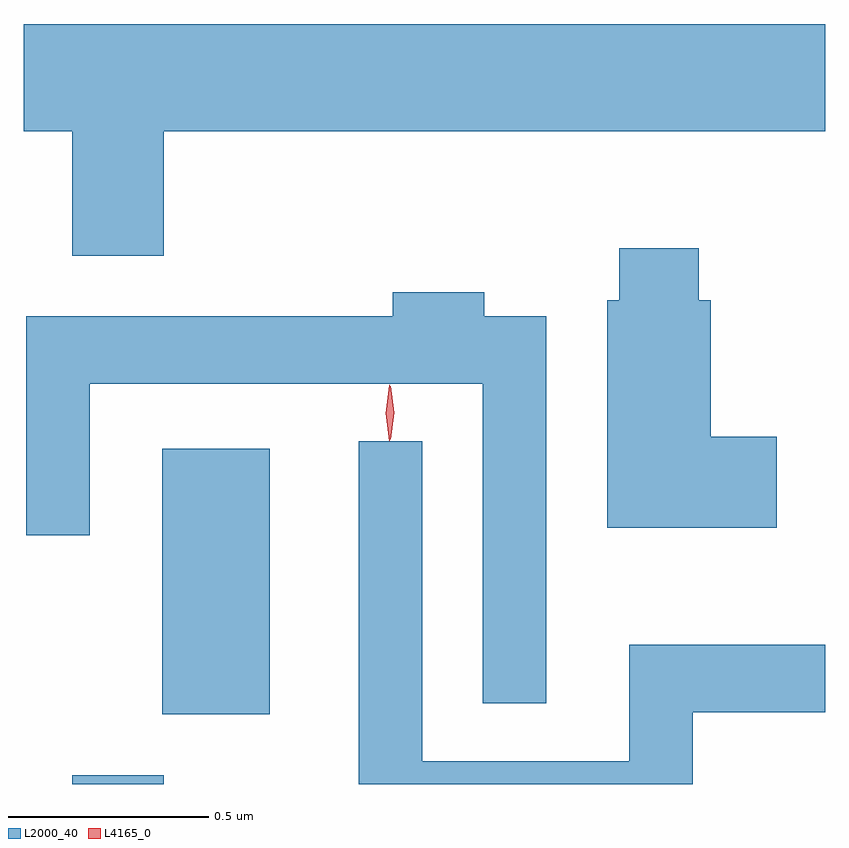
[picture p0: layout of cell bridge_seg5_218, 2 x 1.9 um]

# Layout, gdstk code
import gdstk
lib = gdstk.Library(unit=1e-6, precision=1e-09)
def R(c, l, rs):  # rectangles x0, y0, x1, y1
    for r in rs: c.add(gdstk.rectangle(r[:2], r[2:], *l))
def P(c, l, *ps):  # polygons
    for p in ps: c.add(gdstk.Polygon(p, *l))
L2000_40 = (2000, 40)
L4165_0 = (4165, 0)

bridge_seg5_218 = lib.new_cell('bridge_seg5_218')
R(bridge_seg5_218, L2000_40, [(1279.161,1417.427,1279.389,1417.449), (1279.386,1417.601,1279.654,1418.264)])
P(bridge_seg5_218, L2000_40, [(1279.389,1419.056),(1281.04,1419.056),(1281.04,1419.324),(1279.04,1419.324),(1279.04,1419.056),(1279.161,1419.056),(1279.161,1418.746),(1279.389,1418.746)],
  [(1280.919,1418.294),(1280.754,1418.294),(1280.754,1418.634),(1280.724,1418.634),(1280.724,1418.764),(1280.526,1418.764),(1280.526,1418.634),(1280.496,1418.634),(1280.496,1418.066),(1280.919,1418.066)],
  [(1280.344,1418.594),(1280.189,1418.594),(1280.189,1418.654),(1279.961,1418.654),(1279.961,1418.594),(1279.046,1418.594),(1279.046,1418.048),(1279.204,1418.048),(1279.204,1418.426),(1280.186,1418.426),(1280.186,1417.628),(1280.344,1417.628)],
  [(1280.709,1417.606),(1281.04,1417.606),(1281.04,1417.774),(1280.551,1417.774),(1280.551,1417.484),(1280.034,1417.484),(1280.034,1418.283),(1279.876,1418.283),(1279.876,1417.427),(1280.709,1417.427)])
P(bridge_seg5_218, L4165_0, [(1279.953,1418.283),(1279.952,1418.284),(1279.943,1418.353),(1279.952,1418.422),(1279.953,1418.423),(1279.953,1418.422),(1279.963,1418.353),(1279.953,1418.284)],
  [(1279.956,1418.287),(1279.955,1418.288),(1279.946,1418.354),(1279.955,1418.42),(1279.956,1418.42),(1279.956,1418.42),(1279.965,1418.354),(1279.956,1418.288)])

lib.write_gds('bridge_seg5_218.gds')
